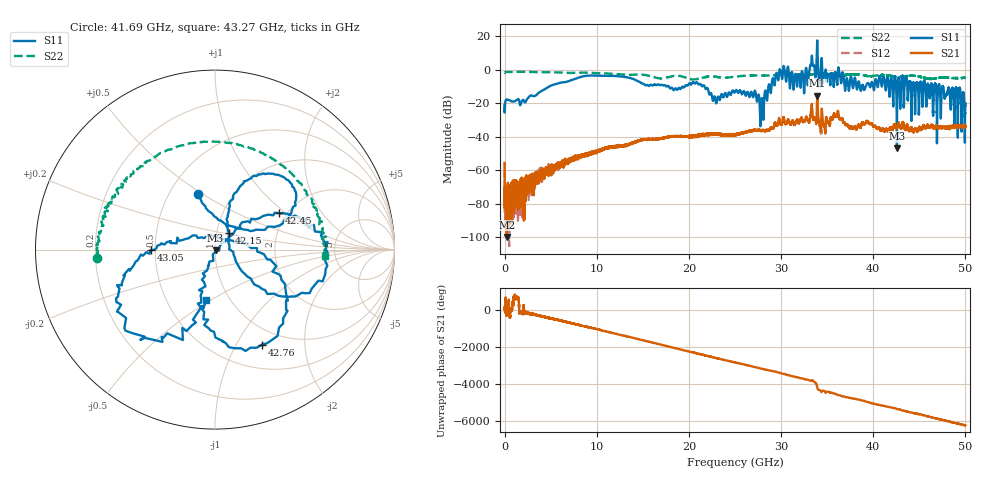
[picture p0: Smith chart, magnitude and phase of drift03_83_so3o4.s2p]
!Created with skrf (http://scikit-rf.org).
# Hz S RI R 50.0
!freq ReS11 ImS11 ReS21 ImS21 ReS12 ImS12 ReS22 ImS22
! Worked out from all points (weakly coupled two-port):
!   10001 points, 300 kHz to 50 GHz, reference 50 ohm
!   highest |S21| = -15.59 dB at 33.92 GHz (marker M1); lowest = -99.8 dB at 235.3 MHz (marker M2)
!   lowest |S11| = -47.0 dB at 42.57 GHz (marker M3), VSWR 1.01, Z = 50.3 - j0.323 ohm
!   |S11| at or under -10 dB: start of sweep to 4.851 GHz; 21.69 GHz to 28.62 GHz (6.936 GHz wide, 27.6 % of centre); 47.54 GHz to end of sweep (the widest 3 of 45)
!   |S22| runs from -5.9 to -1.3 dB; largest |S21 - S12| = 0.018
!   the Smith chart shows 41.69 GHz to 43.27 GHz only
!   S11 on the Smith chart (normalised r, x): 41.69 GHz: 0.70, +0.48; 42.15 GHz: 1.15, +0.22; 42.45 GHz: 1.83, +0.90; 42.76 GHz: 0.79, -1.28; 43.05 GHz: 0.47, -0.00; 43.27 GHz: 0.78, -0.48
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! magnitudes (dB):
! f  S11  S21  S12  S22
! 300 kHz  -21.1  -55.7  -58.9  -2.0
! 235.3 MHz  -17.9  -99.8  -75.1  -1.4
! 8.335 GHz  -4.3  -51.3  -51.1  -1.9
! 16.67 GHz  -8.8  -41.6  -41.2  -5.2
! 21.01 GHz  -8.7  -39.1  -39.1  -5.6
! 22.81 GHz  -16.1  -38.6  -38.7  -4.2
! 25 GHz  -13.4  -38.6  -39.1  -4.3
! 27.92 GHz  -17.1  -36.5  -36.3  -3.5
! 29.69 GHz  -6.4  -32.3  -31.6  -3.1
! 32.32 GHz  -1.5  -30.2  -30.6  -3.2
! 33.34 GHz  7.8  -20.5  -21.0  -2.9
! 33.92 GHz  17.3  -15.6  -15.8  -2.4
! 37.16 GHz  -5.3  -32.6  -32.8  -3.2
! 41.67 GHz  -9.1  -36.6  -36.7  -3.7
! 41.69 GHz  -9.9  -36.7  -36.7  -3.6
! 42.15 GHz  -18.3  -35.4  -34.9  -4.1
! 42.45 GHz  -7.7  -34.5  -34.5  -4.4
! 42.57 GHz  -47.0  -34.7  -34.6  -4.4
! 42.76 GHz  -4.6  -31.8  -31.9  -4.5
! 43.05 GHz  -9.0  -35.0  -34.6  -4.3
! 43.27 GHz  -10.9  -32.3  -32.5  -4.3
! 50 GHz  -20.2  -34.0  -34.0  -4.9
